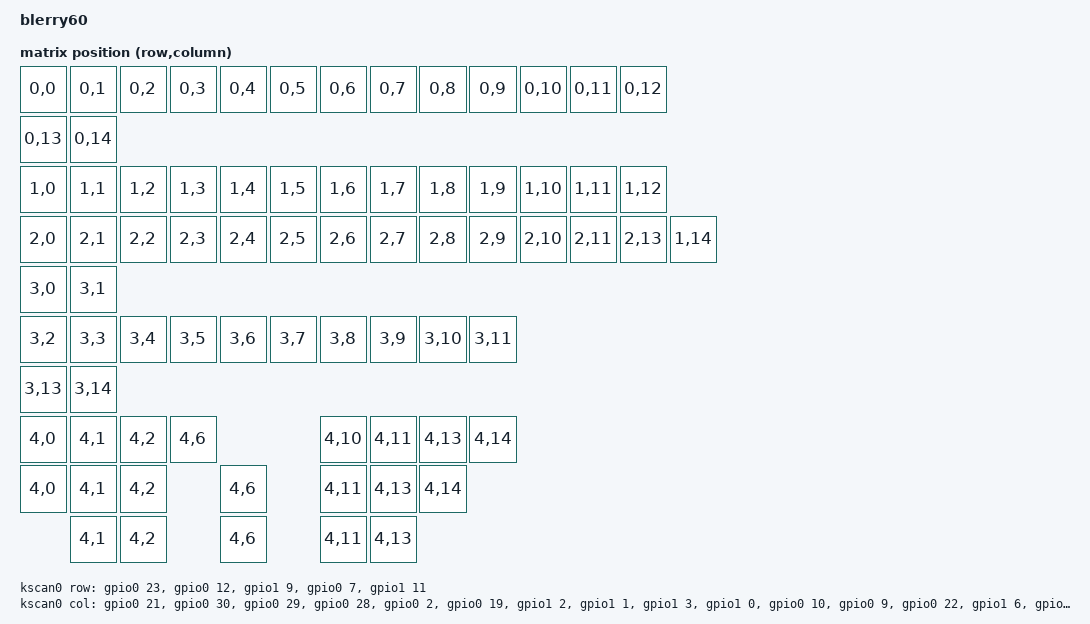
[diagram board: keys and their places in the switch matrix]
/*
 * Copyright (c) 2020 The ZMK Contributors
 *
 * SPDX-License-Identifier: MIT
 */

/dts-v1/;
#include <nordic/nrf52840_qiaa.dtsi>
#include <dt-bindings/zmk/matrix-transform.h>
#include "layout.h"

/ {
	model = "blerry60";
	compatible = "blerry60";

	chosen {
		zephyr,code-partition = &code_partition;
		zephyr,sram = &sram0;
		zephyr,flash = &flash0;
		zmk,kscan = &kscan0;
        zmk,matrix_transform = &default_transform;
	};
 
	kscan0: kscan {
		compatible = "zmk,kscan-gpio-matrix";
		label = "KSCAN";
		diode-direction = "col2row";
		row-gpios
			= <&gpio0 23 (GPIO_ACTIVE_HIGH | GPIO_PULL_DOWN)>
			, <&gpio0 12 (GPIO_ACTIVE_HIGH | GPIO_PULL_DOWN)>
			, <&gpio1  9 (GPIO_ACTIVE_HIGH | GPIO_PULL_DOWN)>
			, <&gpio0  7 (GPIO_ACTIVE_HIGH | GPIO_PULL_DOWN)>
			, <&gpio1 11 (GPIO_ACTIVE_HIGH | GPIO_PULL_DOWN)>
			;
		col-gpios
			= <&gpio0 21 GPIO_ACTIVE_HIGH>
			, <&gpio0 30 GPIO_ACTIVE_HIGH>
			, <&gpio0 29 GPIO_ACTIVE_HIGH>
			, <&gpio0 28 GPIO_ACTIVE_HIGH>
			, <&gpio0  2 GPIO_ACTIVE_HIGH>
			, <&gpio0 19 GPIO_ACTIVE_HIGH>
			, <&gpio1  2 GPIO_ACTIVE_HIGH>
			, <&gpio1  1 GPIO_ACTIVE_HIGH>
			, <&gpio1  3 GPIO_ACTIVE_HIGH>
			, <&gpio1  0 GPIO_ACTIVE_HIGH>
			, <&gpio0 10 GPIO_ACTIVE_HIGH>
			, <&gpio0  9 GPIO_ACTIVE_HIGH>
			, <&gpio0 22 GPIO_ACTIVE_HIGH>
			, <&gpio1  6 GPIO_ACTIVE_HIGH>
			, <&gpio1  4 GPIO_ACTIVE_HIGH>
			;
	};

	default_transform: keymap_transform_0 {
        compatible = "zmk,matrix-transform";
        columns = <15>;
        rows = <5>;
        map = <
	RC(0,0) RC(0,1) RC(0,2) RC(0,3) RC(0,4) RC(0,5) RC(0,6) RC(0,7) RC(0,8) RC(0,9) RC(0,10) RC(0,11) RC(0,12)
#ifdef SPLIT_BACKSPACE
	RC(0,13) RC(0,14)
#else
	RC(0,13)
#endif
#ifdef ISO_ENTER
	RC(1,0) RC(1,1) RC(1,2) RC(1,3) RC(1,4) RC(1,5) RC(1,6) RC(1,7) RC(1,8) RC(1,9) RC(1,10) RC(1,11) RC(1,12) 
	RC(2,0) RC(2,1) RC(2,2) RC(2,3) RC(2,4) RC(2,5) RC(2,6) RC(2,7) RC(2,8) RC(2,9) RC(2,10) RC(2,11) RC(2,13) RC(1,14)
#else
	RC(1,0) RC(1,1) RC(1,2) RC(1,3) RC(1,4) RC(1,5) RC(1,6) RC(1,7) RC(1,8) RC(1,9) RC(1,10) RC(1,11) RC(1,12) RC(1,14)
	RC(2,0) RC(2,1) RC(2,2) RC(2,3) RC(2,4) RC(2,5) RC(2,6) RC(2,7) RC(2,8) RC(2,9) RC(2,10) RC(2,11)          RC(2,13)
#endif
#ifdef SPLIT_LEFT_SHIFT
	RC(3,0) RC(3,1) 
#else
	RC(3,0)
#endif
	RC(3,2) RC(3,3) RC(3,4) RC(3,5) RC(3,6) RC(3,7) RC(3,8) RC(3,9) RC(3,10) RC(3,11) 
#ifdef SPLIT_RIGHT_SHIFT
	RC(3,13) RC(3,14)
#else
	RC(3,13)
#endif
#ifdef BOTTOM_625U
	RC(4,0) RC(4,1) RC(4,2) 		RC(4,6)			RC(4,10) RC(4,11) RC(4,13) RC(4,14)
#endif
#ifdef BOTTOM_7U
	RC(4,0) RC(4,1) RC(4,2)			RC(4,6)			RC(4,11) RC(4,13) RC(4,14)
#endif
#ifdef BOTTOM_HHKB
	        RC(4,1) RC(4,2)			RC(4,6)			RC(4,11) RC(4,13)
#endif
        >;
    };

	ext-power {
		compatible = "zmk,ext-power-generic";
		label = "EXT_POWER";
		control-gpios = <&gpio0  5 GPIO_ACTIVE_HIGH>;
	};

	vbatt {
		compatible = "zmk,battery-voltage-divider";
		label = "BATTERY";
		io-channels = <&adc 1>;
		output-ohms = <2000000>;
		full-ohms = <(2000000 + 1300000)>;
	};
};

&adc {
	status = "okay";
};

&gpio0 {
	status = "okay";
};

&gpio1 {
	status = "okay";
};
&usbd {
	status = "okay";
};

&spi1 {
  compatible = "nordic,nrf-spim";
  status = "okay";
  mosi-pin = <5>;
  // Unused pins, needed for SPI definition, but not used by the ws2812 driver itself.
  sck-pin = <6>;
  miso-pin = <8>;
};


&flash0 {
	/*
	 * For more information, see:
	 * http://docs.zephyrproject.org/latest/devices/dts/flash_partitions.html
	 */
	partitions {
		compatible = "fixed-partitions";
		#address-cells = <1>;
		#size-cells = <1>;

		sd_partition: partition@0 {
			label = "softdevice";
			reg = <0x00000000 0x00026000>;
		};
		code_partition: partition@26000 {
			label = "code_partition";
			reg = <0x00026000 0x000c6000>;
		};

		/*
		 * The flash starting at 0x000ec000 and ending at
		 * 0x000f3fff is reserved for use by the application.
		 */

		/*
		 * Storage partition will be used by FCB/LittleFS/NVS
		 * if enabled.
		 */
		storage_partition: partition@ec000 {
			label = "storage";
			reg = <0x000ec000 0x00008000>;
		};

		boot_partition: partition@f4000 {
			label = "adafruit_boot";
			reg = <0x000f4000 0x0000c000>;
		};
	};
};
